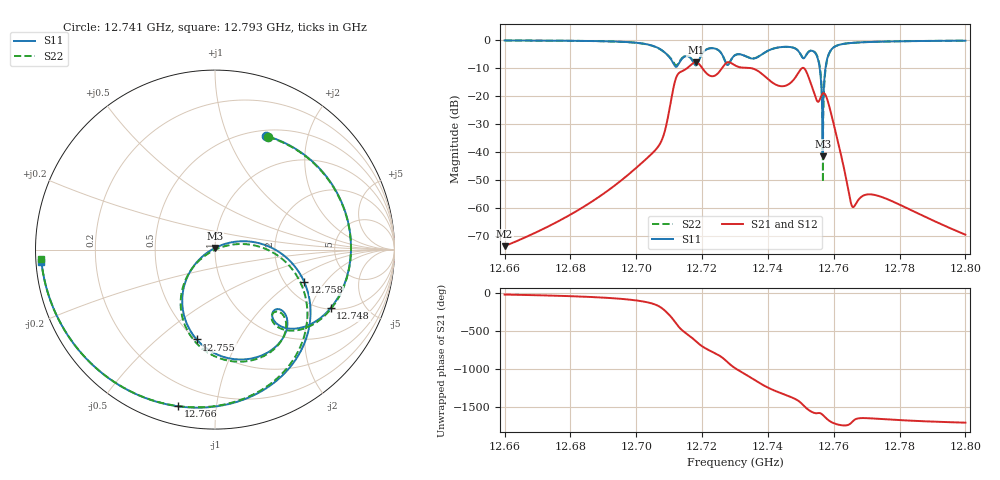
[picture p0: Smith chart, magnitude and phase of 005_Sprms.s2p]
! TOUCHSTONE file generated by CST MICROWAVE STUDIO
! Date and time: Wed Jul 31 10:50:03 2024
! Project name: WaveGuide_BPF-Ver4.1_U-shape_Ku_T3_C4_CWA_2.cst
! Parameters = {cavity_h=16; cavity_l0=10; cavity_l1=15.1678; cavity_l2=16.8512; cavity_l3=17.0906; cavity_l4=17.2327; cavity_l5=17.1467; cavity_l6=17.5814; cavity_r=2.5; cavity_screw_l=0.5; cavity_screw_r=1.5; cavity_w=8; iris_h00=0; iris_h01=8.8268; iris_h112=0; iris_h12=5.5891; iris_h211=3.6612; 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
! Header version: 2018
! Port assignment regex: !\s*Touchstone port\s*([0-9]+)\s*=\s*(CST MWS port|CST DS port)\s*([0-9]+|Zmin|Zmax)\s*\(\"(.*)\"\)(\s*mode\s*([0-9]+))?.*
! Touchstone port assignment:
! Touchstone port 1 = CST MWS port 1 ("")
! Touchstone port 2 = CST MWS port 2 ("")
# GHz S RI R 50
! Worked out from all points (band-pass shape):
!   5001 points, 12.66 GHz to 12.8 GHz, reference 50 ohm
!   highest |S21| = -7.87 dB at 12.718 GHz (marker M1); lowest = -73.5 dB at 12.66 GHz (marker M2)
!   |S21| within 3 dB of the highest: 12.71432 GHz to 12.72061 GHz (6.291 MHz wide, 0.0495 % of centre); 12.72552 GHz to 12.73677 GHz (11.25 MHz wide, 0.0883 % of centre) (the widest 2 of 3)
!   lowest |S11| = -41.4 dB at 12.757 GHz (marker M3), VSWR 1.02, Z = 49.9 + j0.837 ohm
!   |S11| at or under -10 dB: 12.75573 GHz to 12.75749 GHz (1.758 MHz wide, 0.0138 % of centre)
!   |S22| runs from -50.7 to -0.1 dB; largest |S21 - S12| = 1e-09
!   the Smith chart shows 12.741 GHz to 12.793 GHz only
!   S11 on the Smith chart (normalised r, x): 12.741 GHz: 0.57, +1.39; 12.748 GHz: 2.06, -2.80; 12.755 GHz: 0.50, -0.68; 12.758 GHz: 2.52, -1.27; 12.766 GHz: 0.09, -0.79; 12.793 GHz: 0.02, -0.03
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12.66  0.2368 0.955  0.0002 -6.51e-05  0.0002 -6.51e-05  0.2428 0.9534
12.68335  0.6066 0.7529  0.000711 -0.00071  0.000711 -0.00071  0.6155 0.7452
12.70024  0.8915 0.0422  -0.000678 -0.00537  -0.000678 -0.00537  0.8896 0.013
12.70668  0.3868 -0.6079  -0.0124 -0.0026  -0.0124 -0.0026  0.3426 -0.6275
12.7106  -0.4105 -0.1838  0.0604 0.0605  0.0604 0.0605  -0.4345 -0.1562
12.71348  -0.3468 0.2574  -0.0998 -0.2518  -0.0998 -0.2518  -0.3448 0.2846
12.71804  0.0868 0.3416  0.0156 0.4039  0.0156 0.4039  0.092 0.3493
12.72135  0.3482 0.5842  0.2439 -0.0756  0.2439 -0.0756  0.3579 0.5805
12.72524  0.6359 0.0673  -0.0716 -0.2627  -0.0716 -0.2627  0.6379 0.0591
12.73  0.524 -0.1183  0.00557 0.3536  0.00557 0.3536  0.52 -0.1368
12.73344  0.0282 -0.5069  0.3209 -0.00404  0.3209 -0.00404  0.00941 -0.5091
12.73652  -0.4838 0.00753  0.0323 -0.2898  0.0323 -0.2898  -0.4874 0.0173
12.74134  0.2867 0.6329  -0.1677 0.0488  -0.1677 0.0488  0.295 0.6282
12.74798  0.6446 -0.3251  0.1368 0.1479  0.1368 0.1479  0.6387 -0.3392
12.75335  0.2447 -0.5955  -0.0975 -0.1136  -0.0975 -0.1136  0.2377 -0.6075
12.75492  -0.1021 -0.5005  -0.0698 -0.0437  -0.0698 -0.0437  -0.1042 -0.5202
12.75663  -0.00126 0.0084  -0.1087 -0.0221  -0.1087 -0.0221  -0.0263 -0.0147
12.75831  0.4975 -0.1811  -0.0419 0.0648  -0.0419 0.0648  0.4803 -0.1925
12.76637  -0.2034 -0.8735  -0.000669 0.000888  -0.000669 0.000888  -0.2315 -0.8679
12.77668  -0.7575 -0.5622  -0.000903 0.0011  -0.000903 0.0011  -0.7704 -0.5461
12.79258  -0.9671 -0.0671  -6.63e-05 0.000517  -6.63e-05 0.000517  -0.9684 -0.0542
12.8  -0.9707 0.0973  1.56e-05 0.000337  1.56e-05 0.000337  -0.9699 0.1081
